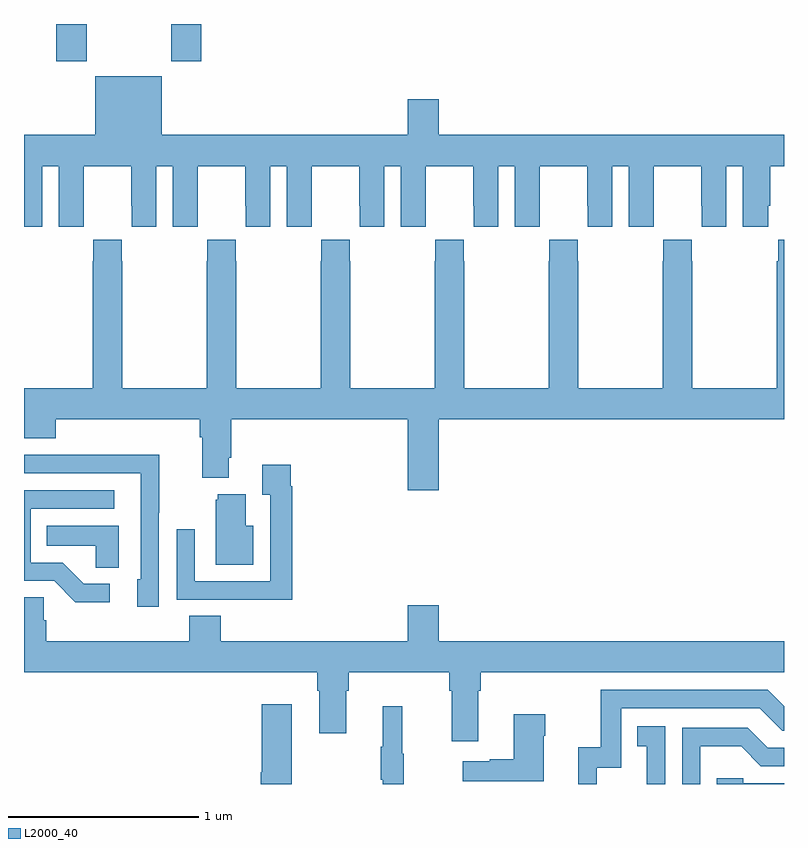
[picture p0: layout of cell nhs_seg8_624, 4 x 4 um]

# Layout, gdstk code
import gdstk
lib = gdstk.Library(unit=1e-6, precision=1e-09)
def R(c, l, rs):  # rectangles x0, y0, x1, y1
    for r in rs: c.add(gdstk.rectangle(r[:2], r[2:], *l))
def P(c, l, *ps):  # polygons
    for p in ps: c.add(gdstk.Polygon(p, *l))
L2000_40 = (2000, 40)

nhs_seg8_624 = lib.new_cell('nhs_seg8_624')
R(nhs_seg8_624, L2000_40, [(151.169,1131.705,151.329,1131.9), (151.774,1131.705,151.934,1131.9)])
P(nhs_seg8_624, L2000_40, [(151.096,1131.152),(151.184,1131.152),(151.184,1130.832),(151.314,1130.832),(151.314,1130.944),(151.315,1130.944),(151.315,1131.152),(151.565,1131.152),(151.565,1130.944),(151.566,1130.944),(151.566,1130.832),(151.696,1130.832),(151.696,1131.152),(151.784,1131.152),(151.784,1130.832),(151.914,1130.832),(151.914,1130.944),(151.915,1130.944),(151.915,1131.152),(152.165,1131.152),(152.165,1130.944),(152.166,1130.944),(152.166,1130.832),(152.296,1130.832),(152.296,1131.152),(152.384,1131.152),(152.384,1130.832),(152.514,1130.832),(152.514,1130.944),(152.515,1130.944),(152.515,1131.152),(152.765,1131.152),(152.765,1130.944),(152.766,1130.944),(152.766,1130.832),(152.896,1130.832),(152.896,1131.152),(152.984,1131.152),(152.984,1130.832),(153.114,1130.832),(153.114,1130.944),(153.115,1130.944),(153.115,1131.152),(153.365,1131.152),(153.365,1130.944),(153.366,1130.944),(153.366,1130.832),(153.496,1130.832),(153.496,1131.152),(153.584,1131.152),(153.584,1130.832),(153.714,1130.832),(153.714,1130.944),(153.715,1130.944),(153.715,1131.152),(153.965,1131.152),(153.965,1130.944),(153.966,1130.944),(153.966,1130.832),(154.096,1130.832),(154.096,1131.152),(154.184,1131.152),(154.184,1130.832),(154.314,1130.832),(154.314,1130.944),(154.315,1130.944),(154.315,1131.152),(154.565,1131.152),(154.565,1130.944),(154.566,1130.944),(154.566,1130.832),(154.696,1130.832),(154.696,1131.152),(154.784,1131.152),(154.784,1130.832),(154.918,1130.832),(154.918,1130.944),(154.928,1130.944),(154.928,1131.152),(155,1131.152),(155,1131.316),(153.184,1131.316),(153.184,1131.505),(153.02,1131.505),(153.02,1131.316),(151.726,1131.316),(151.726,1131.625),(151.376,1131.625),(151.376,1131.316),(151,1131.316),(151,1130.832),(151.096,1130.832)],
  [(153.165,1130.764),(153.165,1130.651),(153.163,1130.651),(153.163,1129.984),(152.718,1129.984),(152.718,1130.651),(152.715,1130.651),(152.715,1130.764),(152.565,1130.764),(152.565,1130.651),(152.563,1130.651),(152.563,1129.984),(152.118,1129.984),(152.118,1130.651),(152.115,1130.651),(152.115,1130.764),(151.965,1130.764),(151.965,1130.651),(151.963,1130.651),(151.963,1129.984),(151.518,1129.984),(151.518,1130.651),(151.515,1130.651),(151.515,1130.764),(151.365,1130.764),(151.365,1130.651),(151.363,1130.651),(151.363,1129.984),(151,1129.984),(151,1129.82),(151.001,1129.82),(151.001,1129.721),(151.166,1129.721),(151.166,1129.82),(151.925,1129.82),(151.925,1129.724),(151.937,1129.724),(151.937,1129.511),(152.077,1129.511),(152.077,1129.618),(152.09,1129.618),(152.09,1129.82),(153.02,1129.82),(153.02,1129.446),(153.184,1129.446),(153.184,1129.82),(155,1129.82),(155,1130.764),(154.969,1130.764),(154.969,1130.651),(154.963,1130.651),(154.963,1129.984),(154.518,1129.984),(154.518,1130.651),(154.515,1130.651),(154.515,1130.764),(154.365,1130.764),(154.365,1130.651),(154.363,1130.651),(154.363,1129.984),(153.918,1129.984),(153.918,1130.651),(153.915,1130.651),(153.915,1130.764),(153.765,1130.764),(153.765,1130.651),(153.763,1130.651),(153.763,1129.984),(153.318,1129.984),(153.318,1130.651),(153.315,1130.651),(153.315,1130.764)],
  [(151.71,1129.327),(151.713,1129.327),(151.713,1129.634),(151.249,1129.634),(151.249,1129.632),(151,1129.632),(151,1129.536),(151.614,1129.536),(151.614,1128.978),(151.595,1128.978),(151.595,1128.834),(151.71,1128.834)],
  [(152.411,1129.466),(152.404,1129.466),(152.404,1129.579),(152.255,1129.579),(152.255,1129.423),(152.295,1129.423),(152.295,1128.966),(151.899,1128.966),(151.899,1129.24),(151.803,1129.24),(151.803,1128.87),(152.119,1128.87),(152.119,1128.869),(152.411,1128.869)],
  [(151.45,1128.954),(151.315,1128.954),(151.204,1129.065),(151.035,1129.065),(151.035,1129.35),(151.474,1129.35),(151.474,1129.446),(151,1129.446),(151,1128.969),(151.158,1128.969),(151.271,1128.857),(151.45,1128.857)],
  [(152.206,1129.258),(152.167,1129.258),(152.167,1129.426),(152.021,1129.426),(152.021,1129.395),(152.009,1129.395),(152.009,1129.055),(152.206,1129.055)],
  [(151.498,1129.258),(151.12,1129.258),(151.12,1129.154),(151.377,1129.154),(151.377,1129.039),(151.498,1129.039)],
  [(153.391,1128.392),(153.404,1128.392),(153.404,1128.488),(155,1128.488),(155,1128.652),(153.184,1128.652),(153.184,1128.841),(153.02,1128.841),(153.02,1128.652),(152.036,1128.652),(152.036,1128.785),(151.871,1128.785),(151.871,1128.652),(151.118,1128.652),(151.118,1128.761),(151.104,1128.761),(151.104,1128.884),(151,1128.884),(151,1128.488),(152.543,1128.488),(152.543,1128.392),(152.555,1128.392),(152.555,1128.168),(152.695,1128.168),(152.695,1128.392),(152.708,1128.392),(152.708,1128.488),(153.239,1128.488),(153.239,1128.392),(153.251,1128.392),(153.251,1128.126),(153.391,1128.126)],
  [(154.014,1127.985),(154.143,1127.985),(154.143,1128.3),(154.872,1128.3),(154.992,1128.18),(155,1128.18),(155,1128.31),(154.914,1128.396),(154.035,1128.396),(154.035,1128.094),(153.917,1128.094),(153.917,1127.9),(154.014,1127.9)],
  [(152.41,1128.319),(152.252,1128.319),(152.252,1127.961),(152.246,1127.961),(152.246,1127.9),(152.41,1127.9)],
  [(152.998,1128.06),(152.99,1128.06),(152.99,1128.31),(152.888,1128.31),(152.888,1128.097),(152.877,1128.097),(152.877,1127.923),(152.888,1127.923),(152.888,1127.9),(152.998,1127.9)],
  [(153.736,1128.155),(153.744,1128.155),(153.744,1128.268),(153.578,1128.268),(153.578,1128.029),(153.452,1128.029),(153.452,1128.019),(153.309,1128.019),(153.309,1127.915),(153.736,1127.915)],
  [(154.374,1128.205),(154.228,1128.205),(154.228,1128.099),(154.277,1128.099),(154.277,1127.9),(154.374,1127.9)],
  [(154.56,1128.098),(154.774,1128.098),(154.878,1127.994),(155,1127.994),(155,1128.09),(154.915,1128.09),(154.81,1128.195),(154.464,1128.195),(154.464,1127.9),(154.56,1127.9)],
  [(155,1127.904),(154.785,1127.904),(154.785,1127.931),(154.645,1127.931),(154.645,1127.9),(155,1127.9)])

lib.write_gds('nhs_seg8_624.gds')
